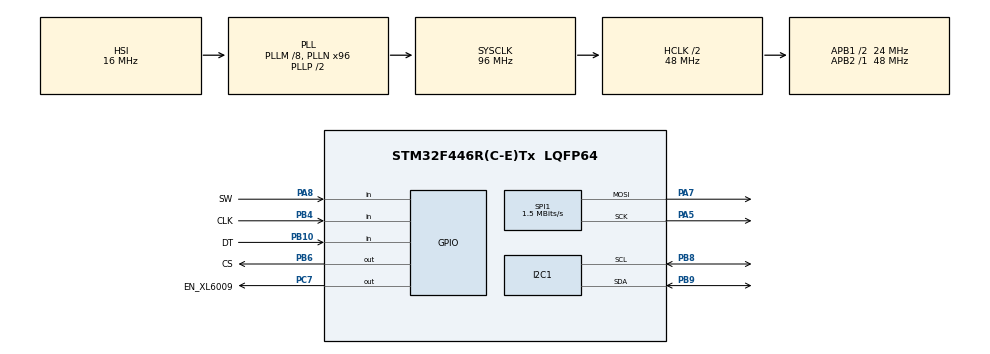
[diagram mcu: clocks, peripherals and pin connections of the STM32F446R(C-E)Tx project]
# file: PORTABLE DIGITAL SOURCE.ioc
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I2C1.I2C_Mode=I2C_Fast
Mcu.Family=STM32F4
Mcu.Name=STM32F446R(C-E)Tx
Mcu.Package=LQFP64
NVIC.PriorityGroup=NVIC_PRIORITYGROUP_4
NVIC.TIM6_DAC_IRQn=true\:0\:0\:false\:false\:true\:true\:true\:true
PA5.Mode=TX_Only_Simplex_Unidirect_Master
PA5.Signal=SPI1_SCK
PA7.Mode=TX_Only_Simplex_Unidirect_Master
PA7.Signal=SPI1_MOSI
PA8.GPIO_Label=SW
PA8.Signal=GPIO_Input
PB10.GPIO_Label=DT
PB10.Signal=GPIO_Input
PB4.GPIO_Label=CLK
PB4.Signal=GPIO_Input
PB6.GPIO_Label=CS
PB6.GPIO_Speed=GPIO_SPEED_FREQ_HIGH
PB6.PinState=GPIO_PIN_SET
PB6.Signal=GPIO_Output
PB8.Mode=I2C
PB8.Signal=I2C1_SCL
PB9.Mode=I2C
PB9.Signal=I2C1_SDA
PC7.GPIO_Label=EN_XL6009
PC7.Signal=GPIO_Output
ProjectManager.HeapSize=0x200
ProjectManager.StackSize=0x400
ProjectManager.TargetToolchain=STM32CubeIDE
RCC.AHBCLKDivider=RCC_SYSCLK_DIV2
RCC.AHBFreq_Value=48000000
RCC.APB1CLKDivider=RCC_HCLK_DIV2
RCC.APB1Freq_Value=24000000
RCC.APB1TimFreq_Value=48000000
RCC.APB2Freq_Value=48000000
RCC.APB2TimFreq_Value=48000000
RCC.CortexFreq_Value=48000000
RCC.HCLKFreq_Value=48000000
RCC.PLLM=8
RCC.PLLN=96
RCC.SYSCLKFreq_VALUE=96000000
RCC.SYSCLKSource=RCC_SYSCLKSOURCE_PLLCLK
RCC.USBFreq_Value=96000000
RCC.VCOOutputFreq_Value=192000000
SPI1.BaudRatePrescaler=SPI_BAUDRATEPRESCALER_32
SPI1.CalculateBaudRate=1.5 MBits/s
SPI1.Direction=SPI_DIRECTION_2LINES
SPI1.Mode=SPI_MODE_MASTER
SPI1.VirtualType=VM_MASTER
TIM6.Period=5-1
TIM6.Prescaler=48000-1
VP_TIM6_VS_ClockSourceINT.Mode=Enable_Timer
board=custom

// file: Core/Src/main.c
/* USER CODE BEGIN Header */
/**
  ******************************************************************************
  * @file           : main.c
  * @brief          : Main program body
  ******************************************************************************
  * @attention
  *
  * Copyright (c) 2022 STMicroelectronics.
  * All rights reserved.
  *
  * This software is licensed under terms that can be found in the LICENSE file
  * in the root directory of this software component.
  * If no LICENSE file comes with this software, it is provided AS-IS.
  *
  ******************************************************************************
  */
/* USER CODE END Header */
#include "main.h"

/* USER CODE BEGIN Includes */
#include "stdio.h"
#include "OLED_SSD1306.h"
#include "IMAGENES.h"
#include "ADS1115.h"
#include "ENCODER_ROT.h"
#include "FUNCION_MAP.h"
#include "AD5290.h"

/* USER CODE END Includes */

I2C_HandleTypeDef hi2c1;

SPI_HandleTypeDef hspi1;

TIM_HandleTypeDef htim6;

/* USER CODE BEGIN PV */
char buff[16];
float out_voltage;
float in_voltage;
float corriente;
float potencia;
float encoder;
uint8_t mem=0,suma=0;//variables para el pulsador del encoder
uint16_t contMillis=0;

/* USER CODE END PV */

void SystemClock_Config(void);
static void MX_GPIO_Init(void);
static void MX_I2C1_Init(void);
static void MX_TIM6_Init(void);
static void MX_SPI1_Init(void);

int main(void)
{

  /* MCU Configuration--------------------------------------------------------*/

  /* Reset of all peripherals, Initializes the Flash interface and the Systick. */
  HAL_Init();

  /* Configure the system clock */
  SystemClock_Config();

  /* Initialize all configured peripherals */
  MX_GPIO_Init();
  MX_I2C1_Init();
  MX_TIM6_Init();
  MX_SPI1_Init();
  /* USER CODE BEGIN 2 */
  OLED_Init();
  HAL_TIM_Base_Start_IT(&htim6);

  /* USER CODE END 2 */

  /* Infinite loop */
  /* USER CODE BEGIN WHILE */
  while (1){

      if(!HAL_GPIO_ReadPin(SW_GPIO_Port, SW_Pin) && !mem){mem = 1;}
      if( HAL_GPIO_ReadPin(SW_GPIO_Port, SW_Pin) &&  mem){mem = 0; suma++;}
      if(suma==1){
          suma=2;  //cambio el contador para que solo haga una vez todo lo que esta dentro del if
          HAL_GPIO_WritePin(EN_XL6009_GPIO_Port, EN_XL6009_Pin, SET);
          OLED_Print_Text(1,112,1,"ON");
      }
      if(suma==3){
          suma=0; //cambio el contador para que solo haga una vez todo lo que esta dentro del if
          HAL_GPIO_WritePin(EN_XL6009_GPIO_Port, EN_XL6009_Pin, RESET);
          OLED_Print_Text(1,112,1,"OF");
      }

      sprintf(buff,"SET:%3.0f",encoder);
      OLED_Print_Text(1,70,1,buff);
      AD5290_Write(encoder);

	  if(contMillis>=120){//cada 120ms imprimo en el oled

		  out_voltage   = ADS1115_Read(0)*0.00117127;
		  sprintf(buff,"%2.2fV ",out_voltage);
		  OLED_Print_Text(0,0,2,buff);

		  corriente = ADS1115_Read(1)*0.078125;
		  if(corriente>=0){
			  sprintf(buff,"%4.0fmA",corriente);
			  OLED_Print_Text(2,0,2,buff);
		  }else{
			  OLED_Print_Text(2,0,2,"   0mA");
		  }

		  potencia  = out_voltage*corriente/1000;
		  if(potencia>=0){
			  sprintf(buff,"%2.2fW",potencia);
			  OLED_Print_Text(2,70,2,buff);
		  }else{
			  OLED_Print_Text(2,70,2,"0.00W ");
		  }

		  in_voltage   = ADS1115_Read(2)*0.00049449;
		  sprintf(buff,"VIN:%2.1fV",in_voltage);
		  OLED_Print_Text(0,70,1,buff);

		  //HAL_GPIO_TogglePin(LED_GPIO_Port, LED_Pin);
		  contMillis=0;
		}

	  //HAL_Delay(50);

    /* USER CODE END WHILE */

  }
}

void SystemClock_Config(void)
{
  RCC_OscInitTypeDef RCC_OscInitStruct = {0};
  RCC_ClkInitTypeDef RCC_ClkInitStruct = {0};

  /** Configure the main internal regulator output voltage
  */
  __HAL_RCC_PWR_CLK_ENABLE();
  __HAL_PWR_VOLTAGESCALING_CONFIG(PWR_REGULATOR_VOLTAGE_SCALE3);

  /** Initializes the RCC Oscillators according to the specified parameters
  * in the RCC_OscInitTypeDef structure.
  */
  RCC_OscInitStruct.OscillatorType = RCC_OSCILLATORTYPE_HSI;
  RCC_OscInitStruct.HSIState = RCC_HSI_ON;
  RCC_OscInitStruct.HSICalibrationValue = RCC_HSICALIBRATION_DEFAULT;
  RCC_OscInitStruct.PLL.PLLState = RCC_PLL_ON;
  RCC_OscInitStruct.PLL.PLLSource = RCC_PLLSOURCE_HSI;
  RCC_OscInitStruct.PLL.PLLM = 8;
  RCC_OscInitStruct.PLL.PLLN = 96;
  RCC_OscInitStruct.PLL.PLLP = RCC_PLLP_DIV2;
  RCC_OscInitStruct.PLL.PLLQ = 2;
  RCC_OscInitStruct.PLL.PLLR = 2;
  if (HAL_RCC_OscConfig(&RCC_OscInitStruct) != HAL_OK)
  {
    Error_Handler();
  }

  /** Initializes the CPU, AHB and APB buses clocks
  */
  RCC_ClkInitStruct.ClockType = RCC_CLOCKTYPE_HCLK|RCC_CLOCKTYPE_SYSCLK
                              |RCC_CLOCKTYPE_PCLK1|RCC_CLOCKTYPE_PCLK2;
  RCC_ClkInitStruct.SYSCLKSource = RCC_SYSCLKSOURCE_PLLCLK;
  RCC_ClkInitStruct.AHBCLKDivider = RCC_SYSCLK_DIV2;
  RCC_ClkInitStruct.APB1CLKDivider = RCC_HCLK_DIV2;
  RCC_ClkInitStruct.APB2CLKDivider = RCC_HCLK_DIV1;

  if (HAL_RCC_ClockConfig(&RCC_ClkInitStruct, FLASH_LATENCY_1) != HAL_OK)
  {
    Error_Handler();
  }
}

static void MX_I2C1_Init(void)
{

  hi2c1.Instance = I2C1;
  hi2c1.Init.ClockSpeed = 400000;
  hi2c1.Init.DutyCycle = I2C_DUTYCYCLE_2;
  hi2c1.Init.OwnAddress1 = 0;
  hi2c1.Init.AddressingMode = I2C_ADDRESSINGMODE_7BIT;
  hi2c1.Init.DualAddressMode = I2C_DUALADDRESS_DISABLE;
  hi2c1.Init.OwnAddress2 = 0;
  hi2c1.Init.GeneralCallMode = I2C_GENERALCALL_DISABLE;
  hi2c1.Init.NoStretchMode = I2C_NOSTRETCH_DISABLE;
  if (HAL_I2C_Init(&hi2c1) != HAL_OK)
  {
    Error_Handler();
  }

}

static void MX_SPI1_Init(void)
{

  /* SPI1 parameter configuration*/
  hspi1.Instance = SPI1;
  hspi1.Init.Mode = SPI_MODE_MASTER;
  hspi1.Init.Direction = SPI_DIRECTION_2LINES;
  hspi1.Init.DataSize = SPI_DATASIZE_8BIT;
  hspi1.Init.CLKPolarity = SPI_POLARITY_LOW;
  hspi1.Init.CLKPhase = SPI_PHASE_1EDGE;
  hspi1.Init.NSS = SPI_NSS_SOFT;
  hspi1.Init.BaudRatePrescaler = SPI_BAUDRATEPRESCALER_32;
  hspi1.Init.FirstBit = SPI_FIRSTBIT_MSB;
  hspi1.Init.TIMode = SPI_TIMODE_DISABLE;
  hspi1.Init.CRCCalculation = SPI_CRCCALCULATION_DISABLE;
  hspi1.Init.CRCPolynomial = 10;
  if (HAL_SPI_Init(&hspi1) != HAL_OK)
  {
    Error_Handler();
  }

}

static void MX_TIM6_Init(void)
{

  TIM_MasterConfigTypeDef sMasterConfig = {0};

  htim6.Instance = TIM6;
  htim6.Init.Prescaler = 48000-1;
  htim6.Init.CounterMode = TIM_COUNTERMODE_UP;
  htim6.Init.Period = 5-1;
  htim6.Init.AutoReloadPreload = TIM_AUTORELOAD_PRELOAD_DISABLE;
  if (HAL_TIM_Base_Init(&htim6) != HAL_OK)
  {
    Error_Handler();
  }
  sMasterConfig.MasterOutputTrigger = TIM_TRGO_RESET;
  sMasterConfig.MasterSlaveMode = TIM_MASTERSLAVEMODE_DISABLE;
  if (HAL_TIMEx_MasterConfigSynchronization(&htim6, &sMasterConfig) != HAL_OK)
  {
    Error_Handler();
  }

}

static void MX_GPIO_Init(void)
{
  GPIO_InitTypeDef GPIO_InitStruct = {0};

  /* GPIO Ports Clock Enable */
  __HAL_RCC_GPIOA_CLK_ENABLE();
  __HAL_RCC_GPIOB_CLK_ENABLE();
  __HAL_RCC_GPIOC_CLK_ENABLE();

  /*Configure GPIO pin Output Level */
  HAL_GPIO_WritePin(EN_XL6009_GPIO_Port, EN_XL6009_Pin, GPIO_PIN_RESET);

  /*Configure GPIO pin Output Level */
  HAL_GPIO_WritePin(CS_GPIO_Port, CS_Pin, GPIO_PIN_SET);

  /*Configure GPIO pins : DT_Pin CLK_Pin */
  GPIO_InitStruct.Pin = DT_Pin|CLK_Pin;
  GPIO_InitStruct.Mode = GPIO_MODE_INPUT;
  GPIO_InitStruct.Pull = GPIO_NOPULL;
  HAL_GPIO_Init(GPIOB, &GPIO_InitStruct);

  /*Configure GPIO pin : EN_XL6009_Pin */
  GPIO_InitStruct.Pin = EN_XL6009_Pin;
  GPIO_InitStruct.Mode = GPIO_MODE_OUTPUT_PP;
  GPIO_InitStruct.Pull = GPIO_NOPULL;
  GPIO_InitStruct.Speed = GPIO_SPEED_FREQ_LOW;
  HAL_GPIO_Init(EN_XL6009_GPIO_Port, &GPIO_InitStruct);

  /*Configure GPIO pin : SW_Pin */
  GPIO_InitStruct.Pin = SW_Pin;
  GPIO_InitStruct.Mode = GPIO_MODE_INPUT;
  GPIO_InitStruct.Pull = GPIO_NOPULL;
  HAL_GPIO_Init(SW_GPIO_Port, &GPIO_InitStruct);

  /*Configure GPIO pin : CS_Pin */
  GPIO_InitStruct.Pin = CS_Pin;
  GPIO_InitStruct.Mode = GPIO_MODE_OUTPUT_PP;
  GPIO_InitStruct.Pull = GPIO_NOPULL;
  GPIO_InitStruct.Speed = GPIO_SPEED_FREQ_HIGH;
  HAL_GPIO_Init(CS_GPIO_Port, &GPIO_InitStruct);

}

/* USER CODE BEGIN 4 */
void HAL_TIM_PeriodElapsedCallback(TIM_HandleTypeDef *htim) {
	if (htim->Instance == TIM6) {//Leemos el encoder cada 5ms
		encoder = Encoder_Run();
		contMillis++;
	}
}
/* USER CODE END 4 */

void Error_Handler(void)
{
  __disable_irq();
  while (1)
  {
  }
}
